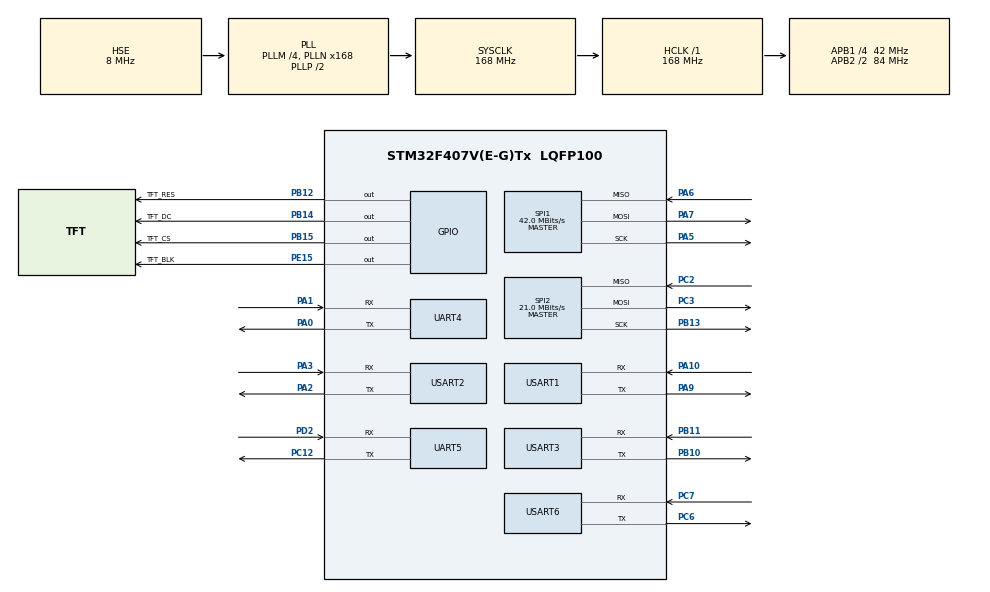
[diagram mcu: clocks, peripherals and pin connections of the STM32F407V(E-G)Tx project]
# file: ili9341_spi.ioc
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Mcu.Family=STM32F4
Mcu.Name=STM32F407V(E-G)Tx
Mcu.Package=LQFP100
NVIC.PriorityGroup=NVIC_PRIORITYGROUP_4
PA0-WKUP.Mode=Asynchronous
PA0-WKUP.Signal=UART4_TX
PA1.Mode=Asynchronous
PA1.Signal=UART4_RX
PA10.Mode=Asynchronous
PA10.Signal=USART1_RX
PA13.Mode=Serial_Wire
PA13.Signal=SYS_JTMS-SWDIO
PA14.Mode=Serial_Wire
PA14.Signal=SYS_JTCK-SWCLK
PA2.Mode=Asynchronous
PA2.Signal=USART2_TX
PA3.Mode=Asynchronous
PA3.Signal=USART2_RX
PA5.Mode=Full_Duplex_Master
PA5.Signal=SPI1_SCK
PA6.Mode=Full_Duplex_Master
PA6.Signal=SPI1_MISO
PA7.Mode=Full_Duplex_Master
PA7.Signal=SPI1_MOSI
PA9.Mode=Asynchronous
PA9.Signal=USART1_TX
PB10.Mode=Asynchronous
PB10.Signal=USART3_TX
PB11.Mode=Asynchronous
PB11.Signal=USART3_RX
PB12.GPIO_Label=TFT_RES
PB12.Signal=GPIO_Output
PB13.Mode=Full_Duplex_Master
PB13.Signal=SPI2_SCK
PB14.GPIO_Label=TFT_DC
PB14.Signal=GPIO_Output
PB15.GPIO_Label=TFT_CS
PB15.Signal=GPIO_Output
PC12.Mode=Asynchronous
PC12.Signal=UART5_TX
PC2.Mode=Full_Duplex_Master
PC2.Signal=SPI2_MISO
PC3.Mode=Full_Duplex_Master
PC3.Signal=SPI2_MOSI
PC6.Mode=Asynchronous
PC6.Signal=USART6_TX
PC7.Mode=Asynchronous
PC7.Signal=USART6_RX
PD2.Mode=Asynchronous
PD2.Signal=UART5_RX
PE15.GPIO_Label=TFT_BLK
PE15.Signal=GPIO_Output
PH0-OSC_IN.Mode=HSE-External-Oscillator
PH0-OSC_IN.Signal=RCC_OSC_IN
PH1-OSC_OUT.Mode=HSE-External-Oscillator
PH1-OSC_OUT.Signal=RCC_OSC_OUT
ProjectManager.HeapSize=0x200
ProjectManager.StackSize=0x400
ProjectManager.TargetToolchain=MDK-ARM V5
RCC.48MHZClocksFreq_Value=84000000
RCC.AHBFreq_Value=168000000
RCC.APB1CLKDivider=RCC_HCLK_DIV4
RCC.APB1Freq_Value=42000000
RCC.APB1TimFreq_Value=84000000
RCC.APB2CLKDivider=RCC_HCLK_DIV2
RCC.APB2Freq_Value=84000000
RCC.APB2TimFreq_Value=168000000
RCC.CortexFreq_Value=168000000
RCC.HCLKFreq_Value=168000000
RCC.HSE_VALUE=8000000
RCC.HSI_VALUE=16000000
RCC.LSE_VALUE=32768
RCC.PLLM=4
RCC.PLLN=168
RCC.PLLSourceVirtual=RCC_PLLSOURCE_HSE
RCC.SYSCLKFreq_VALUE=168000000
RCC.SYSCLKSource=RCC_SYSCLKSOURCE_PLLCLK
RCC.VCOOutputFreq_Value=336000000
SPI1.CalculateBaudRate=42.0 MBits/s
SPI1.Direction=SPI_DIRECTION_2LINES
SPI1.Mode=SPI_MODE_MASTER
SPI1.VirtualType=VM_MASTER
SPI2.CalculateBaudRate=21.0 MBits/s
SPI2.Direction=SPI_DIRECTION_2LINES
SPI2.Mode=SPI_MODE_MASTER
SPI2.VirtualType=VM_MASTER
UART4.VirtualMode=Asynchronous
UART5.VirtualMode=Asynchronous
USART1.VirtualMode=VM_ASYNC
USART2.VirtualMode=VM_ASYNC
USART3.VirtualMode=VM_ASYNC
USART6.VirtualMode=VM_ASYNC
board=custom

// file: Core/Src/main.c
/* USER CODE BEGIN Header */
/**
  ******************************************************************************
  * @file           : main.c
  * @brief          : Main program body
  ******************************************************************************
  * @attention
  *
  * <h2><center>&copy; Copyright (c) 2021 STMicroelectronics.
  * All rights reserved.</center></h2>
  *
  * This software component is licensed by ST under BSD 3-Clause license,
  * the "License"; You may not use this file except in compliance with the
  * License. You may obtain a copy of the License at:
  *                        opensource.org/licenses/BSD-3-Clause
  *
  ******************************************************************************
  */
/* USER CODE END Header */
#include "main.h"
#include "spi.h"
#include "usart.h"
#include "gpio.h"

/* USER CODE BEGIN Includes */
#include <string.h>
#include <stdio.h>
#include <stdarg.h>
#include "ili9341.h"
#include "ili9341_touch.h"
#include "fonts.h"
#include "testimg.h"
/* USER CODE END Includes */

void SystemClock_Config(void);

/* USER CODE BEGIN 0 */

const char *ggaBuffer = "$GNZDA,065106.00,08,01,2021,,*74";

void UART_Printf(const char* fmt, ...) {
    char buff[256];
    va_list args;
    va_start(args, fmt);
    vsnprintf(buff, sizeof(buff), fmt, args);
    HAL_UART_Transmit(&huart1, (uint8_t*)buff, strlen(buff),
                      HAL_MAX_DELAY);
    va_end(args);
}

void init() {
	UART_Printf("STM32F407VGT6 ILI9341 SPI Poll Test\r\n");
    ILI9341_UnSelect();

//    ILI9341_TouchUnselect();
    ILI9341_Init();
}

/**
 * @brief A Simple test function for ILI9341
 * @param  none
 * @return  none
 */
void ILI9341_Test(void)
{
	ILI9341_Fill_Color(ILI9341_WHITE);
	HAL_Delay(1000);
	ILI9341_WriteString(10, 20, "Speed Test", Font_11x18, ILI9341_RED, ILI9341_WHITE);
	HAL_Delay(1000);
	ILI9341_Fill_Color(ILI9341_CYAN);
    HAL_Delay(500);
	ILI9341_Fill_Color(ILI9341_RED);
    HAL_Delay(500);
	ILI9341_Fill_Color(ILI9341_BLUE);
    HAL_Delay(500);
	ILI9341_Fill_Color(ILI9341_GREEN);
    HAL_Delay(500);
	ILI9341_Fill_Color(ILI9341_YELLOW);
    HAL_Delay(500);
	ILI9341_Fill_Color(ILI9341_BROWN);
    HAL_Delay(500);
	ILI9341_Fill_Color(ILI9341_DARKBLUE);
    HAL_Delay(500);
	ILI9341_Fill_Color(ILI9341_MAGENTA);
    HAL_Delay(500);
	ILI9341_Fill_Color(ILI9341_LIGHTGREEN);
    HAL_Delay(500);
	ILI9341_Fill_Color(ILI9341_LGRAY);
    HAL_Delay(500);
	ILI9341_Fill_Color(ILI9341_LBBLUE);
    HAL_Delay(500);
	ILI9341_Fill_Color(ILI9341_WHITE);
	HAL_Delay(500);

	ILI9341_WriteString(10, 10, "Font test.", Font_16x26, ILI9341_GBLUE, ILI9341_WHITE);
	ILI9341_WriteString(10, 50, "Hello Caesar!", Font_7x10, ILI9341_RED, ILI9341_WHITE);
	ILI9341_WriteString(10, 75, "Hello Caesar!", Font_11x18, ILI9341_YELLOW, ILI9341_WHITE);
	ILI9341_WriteString(10, 100, "Hello Caesar!", Font_16x26, ILI9341_MAGENTA, ILI9341_WHITE);
	HAL_Delay(1000);

	ILI9341_Fill_Color(ILI9341_RED);
	ILI9341_WriteString(10, 10, "Rect./Line.", Font_11x18, ILI9341_YELLOW, ILI9341_RED);
	ILI9341_DrawRectangle(30, 30, 100, 100, ILI9341_WHITE);
	HAL_Delay(1000);

	ILI9341_Fill_Color(ILI9341_RED);
	ILI9341_WriteString(10, 10, "Filled Rect.", Font_11x18, ILI9341_YELLOW, ILI9341_RED);
	ILI9341_DrawFilledRectangle(30, 30, 50, 50, ILI9341_WHITE);
	HAL_Delay(1000);

	ILI9341_Fill_Color(ILI9341_RED);
	ILI9341_WriteString(10, 10, "Circle.", Font_11x18, ILI9341_YELLOW, ILI9341_RED);
	ILI9341_DrawCircle(60, 60, 25, ILI9341_WHITE);
	HAL_Delay(1000);

	ILI9341_Fill_Color(ILI9341_RED);
	ILI9341_WriteString(10, 10, "Filled Cir.", Font_11x18, ILI9341_YELLOW, ILI9341_RED);
	ILI9341_DrawFilledCircle(60, 60, 25, ILI9341_WHITE);
	HAL_Delay(1000);

	ILI9341_Fill_Color(ILI9341_RED);
	ILI9341_WriteString(10, 10, "Triangle", Font_11x18, ILI9341_YELLOW, ILI9341_RED);
	ILI9341_DrawTriangle(30, 30, 30, 70, 60, 40, ILI9341_WHITE);
	HAL_Delay(1000);

	ILI9341_Fill_Color(ILI9341_RED);
	ILI9341_WriteString(10, 10, "Filled Tri", Font_11x18, ILI9341_YELLOW, ILI9341_RED);
	ILI9341_DrawFilledTriangle(30, 30, 30, 70, 60, 40, ILI9341_WHITE);
	HAL_Delay(1000);

	//	If FLASH cannot storage anymore datas, please delete codes below.
	ILI9341_Fill_Color(ILI9341_WHITE);
	ILI9341_DrawImage(0, 0, 128, 128, (uint16_t *)saber_128_128);
	HAL_Delay(3000);
}

void loop() {
    if(HAL_SPI_DeInit(&hspi2) != HAL_OK) {
        UART_Printf("HAL_SPI_DeInit failed!\r\n");
        return;
    }

    hspi2.Init.BaudRatePrescaler = SPI_BAUDRATEPRESCALER_2;

    if(HAL_SPI_Init(&hspi2) != HAL_OK) {
        UART_Printf("HAL_SPI_Init failed!\r\n");
        return;
    }

    // Check border
    ILI9341_Fill_Color(ILI9341_BLACK);

    for(int x = 0; x < ILI9341_WIDTH; x++) {
        ILI9341_DrawPixel(x, 0, ILI9341_RED);
        ILI9341_DrawPixel(x, ILI9341_HEIGHT-1, ILI9341_RED);
    }

    for(int y = 0; y < ILI9341_HEIGHT; y++) {
        ILI9341_DrawPixel(0, y, ILI9341_RED);
        ILI9341_DrawPixel(ILI9341_WIDTH-1, y, ILI9341_RED);
    }

    HAL_Delay(3000);

    // Check fonts
    ILI9341_Fill_Color(ILI9341_BLACK);
    ILI9341_WriteString(0, 0, "Font_7x10, red on black, talk is cheap, show me the code.", Font_7x10, ILI9341_RED, ILI9341_BLACK);
    ILI9341_WriteString(0, 3*10, "Font_11x18, green, talk is cheap, show me the code.", Font_11x18, ILI9341_GREEN, ILI9341_BLACK);
    ILI9341_WriteString(0, 3*10+3*18, "Font_16x26, blue, talk is cheap, show me the code.", Font_16x26, ILI9341_BLUE, ILI9341_BLACK);

    HAL_Delay(1000);
    ILI9341_InvertColors(true);
    HAL_Delay(1000);
    ILI9341_InvertColors(false);

    HAL_Delay(5000);

	ILI9341_Fill_Color(ILI9341_WHITE);
	for(uint8_t i = 0; i < 20; i++){
		ILI9341_WriteString(0, i * 12, ggaBuffer, Font_7x10, ILI9341_RED, ILI9341_WHITE);
		HAL_Delay(1000);
	}
	HAL_Delay(3000);

    // Check colors
    ILI9341_Fill_Color(ILI9341_WHITE);
    ILI9341_WriteString(0, 0, "WHITE", Font_11x18, ILI9341_BLACK, ILI9341_WHITE);
	ILI9341_WriteChar(100, 100, '0', Font_7x10, ILI9341_BLACK, ILI9341_WHITE);
    HAL_Delay(500);

    ILI9341_Fill_Color(ILI9341_BLUE);
    ILI9341_WriteString(0, 0, "BLUE", Font_11x18, ILI9341_BLACK, ILI9341_BLUE);
    HAL_Delay(500);

    ILI9341_Fill_Color(ILI9341_RED);
    ILI9341_WriteString(0, 0, "RED", Font_11x18, ILI9341_BLACK, ILI9341_RED);
    HAL_Delay(500);

    ILI9341_Fill_Color(ILI9341_GREEN);
    ILI9341_WriteString(0, 0, "GREEN", Font_11x18, ILI9341_BLACK, ILI9341_GREEN);
    HAL_Delay(500);

    ILI9341_Fill_Color(ILI9341_CYAN);
    ILI9341_WriteString(0, 0, "CYAN", Font_11x18, ILI9341_BLACK, ILI9341_CYAN);
    HAL_Delay(500);

    ILI9341_Fill_Color(ILI9341_MAGENTA);
    ILI9341_WriteString(0, 0, "MAGENTA", Font_11x18, ILI9341_BLACK, ILI9341_MAGENTA);
    HAL_Delay(500);

    ILI9341_Fill_Color(ILI9341_YELLOW);
    ILI9341_WriteString(0, 0, "YELLOW", Font_11x18, ILI9341_BLACK, ILI9341_YELLOW);
    HAL_Delay(500);

    ILI9341_Fill_Color(ILI9341_BLACK);
    ILI9341_WriteString(0, 0, "BLACK", Font_11x18, ILI9341_WHITE, ILI9341_BLACK);
    HAL_Delay(500);

    ILI9341_DrawImage((ILI9341_WIDTH - 240) / 2, (ILI9341_HEIGHT - 240) / 2, 240, 240, (const uint16_t*)test_img_240x240);

    HAL_Delay(3000);

    ILI9341_Fill_Color(ILI9341_BLACK);
    ILI9341_WriteString(0, 0, "Touchpad test.  Draw something!", Font_11x18, ILI9341_WHITE, ILI9341_BLACK);
    HAL_Delay(1000);
    ILI9341_Fill_Color(ILI9341_BLACK);

//    if(HAL_SPI_DeInit(&hspi2) != HAL_OK) {
//        UART_Printf("HAL_SPI_DeInit failed!\r\n");
//        return;
//    }

//    hspi2.Init.BaudRatePrescaler = SPI_BAUDRATEPRESCALER_128;

//    if(HAL_SPI_Init(&hspi2) != HAL_OK) {
//        UART_Printf("HAL_SPI_Init failed!\r\n");
//        return;
//    }

//    int npoints = 0;
//    while(npoints < 10000) {
//        uint16_t x, y;

//        if(ILI9341_TouchGetCoordinates(&x, &y)) {
//            ILI9341_DrawPixel(x, 320-y, ILI9341_WHITE);
//            npoints++;
//        }
//    }
}

/* FSM */
#define STATE_MAIN_MENU                0
#define STATE_BENCHMARK_RUN            1
#define STATE_BENCHMARK_RESULT         2
volatile uint32_t state;
volatile uint32_t next_state;

uint8_t benchmark_test_flag = 1;

/* Benchmark */
volatile uint32_t timer;
char result_str[30];
uint32_t xs,ys;
uint32_t xe,ye;
uint16_t color;

/* better rand() function */
uint32_t randx( void )
{
   static uint32_t z1 = 12345, z2 = 12345, z3 = 12345, z4 = 12345;
   uint32_t b;
   b  = ((z1 << 6) ^ z1) >> 13;
   z1 = ((z1 & 4294967294U) << 18) ^ b;
   b  = ((z2 << 2) ^ z2) >> 27;
   z2 = ((z2 & 4294967288U) << 2) ^ b;
   b  = ((z3 << 13) ^ z3) >> 21;
   z3 = ((z3 & 4294967280U) << 7) ^ b;
   b  = ((z4 << 3) ^ z4) >> 12;
   z4 = ((z4 & 4294967168U) << 13) ^ b;
   return (z1 ^ z2 ^ z3 ^ z4);
}

void lcd_benchmark_init()
{
	/* Initialize FSM */
   state = STATE_MAIN_MENU;
	benchmark_test_flag = 1;
}

void lcd_benchmark_test()
{
	static int frm_cnt;

	benchmark_test_flag = 1;

	/* FSM */
	while(benchmark_test_flag){

		switch ( state )
		{
			/* Run the benchmark */
			case STATE_BENCHMARK_RUN:
			{
				xs = randx() % ILI9341_WIDTH;
				xe = randx() % ILI9341_WIDTH;
				ys = randx() % ILI9341_HEIGHT;
				ye = randx() % ILI9341_HEIGHT;
				color = randx() % 0xFFFFFF;
				ILI9341_Fill( xs, ys, xe, ye, color );
				frm_cnt++;

				if ( !timer ) state = STATE_BENCHMARK_RESULT;
				break;
			}
			/* Show benchmark result */
			case STATE_BENCHMARK_RESULT:
			{
				sprintf( result_str, "Result:%u FPS", frm_cnt/10 );
				ILI9341_Fill_Color(ILI9341_WHITE);
				ILI9341_WriteString(0, 0, result_str, Font_11x18, ILI9341_WHITE, ILI9341_RED);
				HAL_Delay(2000);

				state = STATE_MAIN_MENU;
				benchmark_test_flag = 0;
				break;
			}
			case STATE_MAIN_MENU:
			{
				/* Reset the frame counter */
               frm_cnt = 0;

               /* Run benchmark for 10 seconds */
               timer = 10000;

				ILI9341_Fill_Color(ILI9341_BLACK);
				ILI9341_WriteString(0, 0, "Benchmark Test.", Font_11x18, ILI9341_BLACK, ILI9341_GREEN);
				HAL_Delay(2000);
				ILI9341_Fill_Color(ILI9341_WHITE);
				state = STATE_BENCHMARK_RUN;

			   break;
			}
			default:
				break;
		}
	}
}

/* USER CODE END 0 */

int main(void)
{

  /* MCU Configuration--------------------------------------------------------*/

  /* Reset of all peripherals, Initializes the Flash interface and the Systick. */
  HAL_Init();

  /* Configure the system clock */
  SystemClock_Config();

  /* Initialize all configured peripherals */
  MX_GPIO_Init();
  MX_SPI1_Init();
  MX_SPI2_Init();
  MX_UART4_Init();
  MX_UART5_Init();
  MX_USART1_UART_Init();
  MX_USART2_UART_Init();
  MX_USART3_UART_Init();
  MX_USART6_UART_Init();

  /* Infinite loop */
  /* USER CODE BEGIN WHILE */
  init();
  lcd_benchmark_init();
  while (1)
  {
	  lcd_benchmark_test();
	  loop();
	  ILI9341_Test();
    /* USER CODE END WHILE */

  }
}

void SystemClock_Config(void)
{
  RCC_OscInitTypeDef RCC_OscInitStruct = {0};
  RCC_ClkInitTypeDef RCC_ClkInitStruct = {0};

  /** Configure the main internal regulator output voltage
  */
  __HAL_RCC_PWR_CLK_ENABLE();
  __HAL_PWR_VOLTAGESCALING_CONFIG(PWR_REGULATOR_VOLTAGE_SCALE1);
  /** Initializes the RCC Oscillators according to the specified parameters
  * in the RCC_OscInitTypeDef structure.
  */
  RCC_OscInitStruct.OscillatorType = RCC_OSCILLATORTYPE_HSE;
  RCC_OscInitStruct.HSEState = RCC_HSE_ON;
  RCC_OscInitStruct.PLL.PLLState = RCC_PLL_ON;
  RCC_OscInitStruct.PLL.PLLSource = RCC_PLLSOURCE_HSE;
  RCC_OscInitStruct.PLL.PLLM = 4;
  RCC_OscInitStruct.PLL.PLLN = 168;
  RCC_OscInitStruct.PLL.PLLP = RCC_PLLP_DIV2;
  RCC_OscInitStruct.PLL.PLLQ = 4;
  if (HAL_RCC_OscConfig(&RCC_OscInitStruct) != HAL_OK)
  {
    Error_Handler();
  }
  /** Initializes the CPU, AHB and APB buses clocks
  */
  RCC_ClkInitStruct.ClockType = RCC_CLOCKTYPE_HCLK|RCC_CLOCKTYPE_SYSCLK
                              |RCC_CLOCKTYPE_PCLK1|RCC_CLOCKTYPE_PCLK2;
  RCC_ClkInitStruct.SYSCLKSource = RCC_SYSCLKSOURCE_PLLCLK;
  RCC_ClkInitStruct.AHBCLKDivider = RCC_SYSCLK_DIV1;
  RCC_ClkInitStruct.APB1CLKDivider = RCC_HCLK_DIV4;
  RCC_ClkInitStruct.APB2CLKDivider = RCC_HCLK_DIV2;

  if (HAL_RCC_ClockConfig(&RCC_ClkInitStruct, FLASH_LATENCY_5) != HAL_OK)
  {
    Error_Handler();
  }
}

void Error_Handler(void)
{
}

/************************ (C) COPYRIGHT STMicroelectronics *****END OF FILE****/
